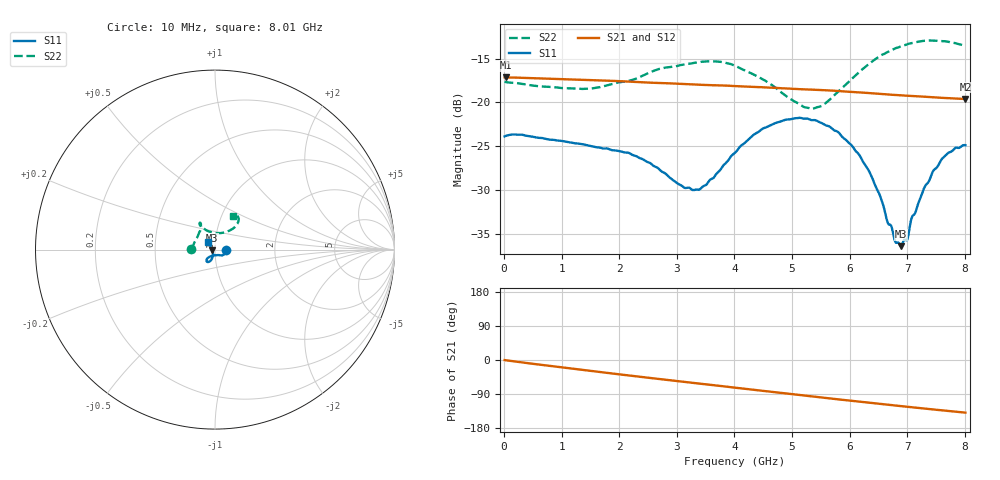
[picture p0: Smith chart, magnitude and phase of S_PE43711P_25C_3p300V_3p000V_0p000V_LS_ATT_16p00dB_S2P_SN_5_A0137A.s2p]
! Device ID: PE43711P
! File Path: z:\PE43711P\CHAR_NOM_04282014\AMB\3p300\LS_ATT_16p00dB\PE43711P_AMB_3p300V_3p000V_0p000V_LS_ATT_16p00dB_S2P_SN_5_A0137A.s2p
! Serial: 5
! Lot: A0137A
! Temp: 25C
! VDD: 3.300
! VSS: 0.000
! Control_Hi: 3.000
! Control_Lo: 0.000
! Attenuation Step: 16.00dB
! Port 1: RF1
! Port 2: RF2
! ThroughPath:1-2
! IDD: 0.0001270914
! ISS: -6.23e-008
#  Hz  S  RI  R  50
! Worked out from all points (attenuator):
!   801 points, 10 MHz to 8.01 GHz, reference 50 ohm
!   highest |S21| = -17.15 dB at 40 MHz (marker M1); lowest = -19.6 dB at 8.01 GHz (marker M2)
!   lowest |S11| = -36.4 dB at 6.89 GHz (marker M3), VSWR 1.03, Z = 48.5 - j0.329 ohm
!   |S11| at or under -10 dB: start of sweep to end of sweep
!   |S22| runs from -20.7 to -12.9 dB; largest |S21 - S12| = 0.00037
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1e7  0.0639 2.89e-05  0.1388 -0.000589  0.1389 -0.000683  -0.1311 0.000948
4e7  0.0645 -0.000458  0.1388 -0.00202  0.1389 -0.00204  -0.1303 0.00267
1.35e9  0.0505 -0.0279  0.1211 -0.0587  0.1212 -0.0588  -0.1045 0.0576
2.16e9  0.0396 -0.033  0.0996 -0.0857  0.0997 -0.0857  -0.0836 0.1028
2.68e9  0.0279 -0.0313  0.0832 -0.0986  0.0833 -0.0986  -0.0783 0.1334
3.11e9  0.0118 -0.0307  0.0685 -0.1073  0.0686 -0.1074  -0.0787 0.144
3.37e9  0.00017 -0.0317  0.0594 -0.1113  0.0595 -0.1113  -0.0803 0.1489
4.01e9  -0.0315 -0.0408  0.0362 -0.1185  0.0362 -0.1186  -0.0851 0.1377
4.34e9  -0.0431 -0.0493  0.024 -0.1201  0.024 -0.1202  -0.0722 0.1243
4.68e9  -0.0474 -0.0586  0.0113 -0.1205  0.0113 -0.1205  -0.0538 0.1112
5.35e9  -0.0396 -0.0685  -0.0123 -0.1175  -0.0123 -0.1176  0.00767 0.0915
5.79e9  -0.0259 -0.0629  -0.0274 -0.1128  -0.0275 -0.1128  0.0583 0.098
6.16e9  -0.0162 -0.0478  -0.0389 -0.1072  -0.039 -0.1073  0.0956 0.1138
6.38e9  -0.0125 -0.0358  -0.0452 -0.1033  -0.0453 -0.1035  0.1126 0.1272
6.68e9  -0.0125 -0.0157  -0.0527 -0.0975  -0.0527 -0.0976  0.1267 0.1491
6.8e9  -0.0132 -0.00873  -0.0556 -0.0951  -0.0555 -0.0951  0.1298 0.1573
6.89e9  -0.0147 -0.00339  -0.0576 -0.0933  -0.0576 -0.0933  0.1316 0.1625
7e9  -0.0161 0.00335  -0.06 -0.0911  -0.0601 -0.0911  0.1323 0.1688
7.09e9  -0.0204 0.00909  -0.0621 -0.0892  -0.0621 -0.0893  0.1311 0.1743
7.46e9  -0.0302 0.0277  -0.0696 -0.0811  -0.0696 -0.0811  0.1208 0.1901
7.69e9  -0.0366 0.0351  -0.0737 -0.0759  -0.0737 -0.0758  0.1101 0.1933
8.01e9  -0.0409 0.0396  -0.0788 -0.0687  -0.0791 -0.0685  0.0977 0.1853
